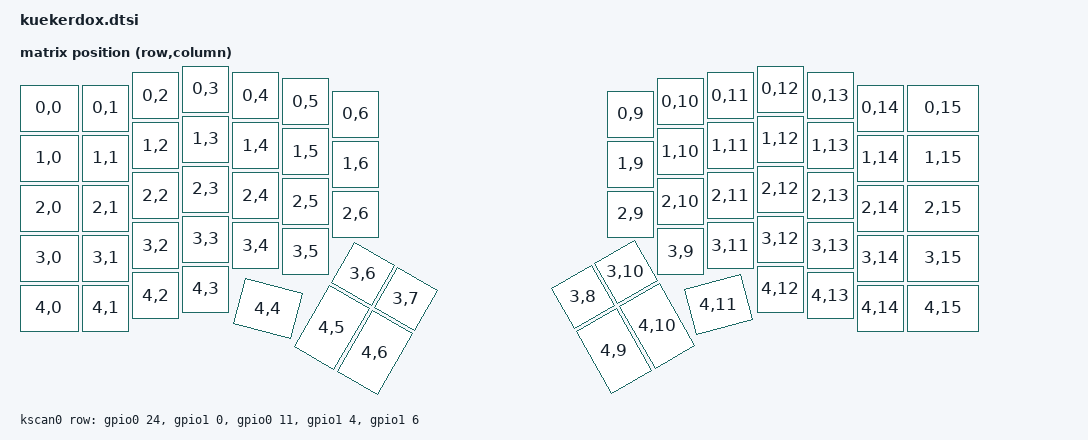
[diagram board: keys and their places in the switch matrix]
#include <dt-bindings/zmk/matrix_transform.h>
#include <physical_layouts.dtsi>

/ {
    chosen {
        zmk,kscan = &kscan0;
        zmk,matrix-transform = &default_transform;
        zmk,physical-layout = &physical_layout0;
    };

    default_transform: keymap_transform_0 {
        compatible = "zmk,matrix-transform";
        columns = <16>;
        rows = <5>;

        map = <
    RC(0,0)  RC(0,1)  RC(0,2)  RC(0,3)  RC(0,4)  RC(0,5)  RC(0,6)                        RC(0,9)  RC(0,10) RC(0,11) RC(0,12) RC(0,13) RC(0,14) RC(0,15)
    RC(1,0)  RC(1,1)  RC(1,2)  RC(1,3)  RC(1,4)  RC(1,5)  RC(1,6)                        RC(1,9)  RC(1,10) RC(1,11) RC(1,12) RC(1,13) RC(1,14) RC(1,15)
    RC(2,0)  RC(2,1)  RC(2,2)  RC(2,3)  RC(2,4)  RC(2,5)  RC(2,6)                        RC(2,9)  RC(2,10) RC(2,11) RC(2,12) RC(2,13) RC(2,14) RC(2,15)
    RC(3,0)  RC(3,1)  RC(3,2)  RC(3,3)  RC(3,4)  RC(3,5)  RC(3,6)  RC(3,7)      RC(3,8)  RC(3,9)  RC(3,10) RC(3,11) RC(3,12) RC(3,13) RC(3,14) RC(3,15)
    RC(4,0)  RC(4,1)  RC(4,2)  RC(4,3)  RC(4,4)  RC(4,5)  RC(4,6)                        RC(4,9)  RC(4,10) RC(4,11) RC(4,12) RC(4,13) RC(4,14) RC(4,15)
        >;
    };

    kscan0: kscan {
        compatible = "zmk,kscan-gpio-matrix";
        wakeup-source;

        diode-direction = "col2row";
        row-gpios
            = <&gpio0 24 (GPIO_ACTIVE_HIGH | GPIO_PULL_DOWN)>
            , <&gpio1 0  (GPIO_ACTIVE_HIGH | GPIO_PULL_DOWN)>
            , <&gpio0 11 (GPIO_ACTIVE_HIGH | GPIO_PULL_DOWN)>
            , <&gpio1 4  (GPIO_ACTIVE_HIGH | GPIO_PULL_DOWN)>
            , <&gpio1 6  (GPIO_ACTIVE_HIGH | GPIO_PULL_DOWN)>
            ;

    };

    physical_layout0: physical_layout_0 {
        compatible = "zmk,physical-layout";
        display-name = "KuekerDox";

        kscan = <&kscan0>;
        transform = <&default_transform>;

        keys  //                     w   h    x    y     rot    rx    ry
            = <&key_physical_attrs 125 100    0   38       0     0     0>
            , <&key_physical_attrs 100 100  125   38       0     0     0>
            , <&key_physical_attrs 100 100  225   13       0     0     0>
            , <&key_physical_attrs 100 100  325    0       0     0     0>
            , <&key_physical_attrs 100 100  425   13       0     0     0>
            , <&key_physical_attrs 100 100  525   25       0     0     0>
            , <&key_physical_attrs 100 100  625   50       0     0     0>
            , <&key_physical_attrs 100 100 1175   50       0     0     0>
            , <&key_physical_attrs 100 100 1275   25       0     0     0>
            , <&key_physical_attrs 100 100 1375   13       0     0     0>
            , <&key_physical_attrs 100 100 1475    0       0     0     0>
            , <&key_physical_attrs 100 100 1575   13       0     0     0>
            , <&key_physical_attrs 100 100 1675   38       0     0     0>
            , <&key_physical_attrs 150 100 1775   38       0     0     0>
            , <&key_physical_attrs 125 100    0  138       0     0     0>
            , <&key_physical_attrs 100 100  125  138       0     0     0>
            , <&key_physical_attrs 100 100  225  113       0     0     0>
            , <&key_physical_attrs 100 100  325  100       0     0     0>
            , <&key_physical_attrs 100 100  425  113       0     0     0>
            , <&key_physical_attrs 100 100  525  125       0     0     0>
            , <&key_physical_attrs 100 100  625  150       0     0     0>
            , <&key_physical_attrs 100 100 1175  150       0     0     0>
            , <&key_physical_attrs 100 100 1275  125       0     0     0>
            , <&key_physical_attrs 100 100 1375  113       0     0     0>
            , <&key_physical_attrs 100 100 1475  100       0     0     0>
            , <&key_physical_attrs 100 100 1575  113       0     0     0>
            , <&key_physical_attrs 100 100 1675  138       0     0     0>
            , <&key_physical_attrs 150 100 1775  138       0     0     0>
            , <&key_physical_attrs 125 100    0  238       0     0     0>
            , <&key_physical_attrs 100 100  125  238       0     0     0>
            , <&key_physical_attrs 100 100  225  213       0     0     0>
            , <&key_physical_attrs 100 100  325  200       0     0     0>
            , <&key_physical_attrs 100 100  425  213       0     0     0>
            , <&key_physical_attrs 100 100  525  225       0     0     0>
            , <&key_physical_attrs 100 100  625  250       0     0     0>
            , <&key_physical_attrs 100 100 1175  250       0     0     0>
            , <&key_physical_attrs 100 100 1275  225       0     0     0>
            , <&key_physical_attrs 100 100 1375  213       0     0     0>
            , <&key_physical_attrs 100 100 1475  200       0     0     0>
            , <&key_physical_attrs 100 100 1575  213       0     0     0>
            , <&key_physical_attrs 100 100 1675  238       0     0     0>
            , <&key_physical_attrs 150 100 1775  238       0     0     0>
            , <&key_physical_attrs 125 100    0  338       0     0     0>
            , <&key_physical_attrs 100 100  125  338       0     0     0>
            , <&key_physical_attrs 100 100  225  313       0     0     0>
            , <&key_physical_attrs 100 100  325  300       0     0     0>
            , <&key_physical_attrs 100 100  425  313       0     0     0>
            , <&key_physical_attrs 100 100  525  325       0     0     0>
            , <&key_physical_attrs 100 100  625  325    3000   600   425>
            , <&key_physical_attrs 100 100  725  325    3000   600   425>
            , <&key_physical_attrs 100 100 1075  350 (-3000)  1250   425>
            , <&key_physical_attrs 100 100 1275  325       0     0     0>
            , <&key_physical_attrs 100 100 1175  350 (-3000)  1250   425>
            , <&key_physical_attrs 100 100 1375  313       0     0     0>
            , <&key_physical_attrs 100 100 1475  300       0     0     0>
            , <&key_physical_attrs 100 100 1575  313       0     0     0>
            , <&key_physical_attrs 100 100 1675  338       0     0     0>
            , <&key_physical_attrs 150 100 1775  338       0     0     0>
            , <&key_physical_attrs 125 100    0  438       0     0     0>
            , <&key_physical_attrs 100 100  125  438       0     0     0>
            , <&key_physical_attrs 100 100  225  413       0     0     0>
            , <&key_physical_attrs 100 100  325  400       0     0     0>
            , <&key_physical_attrs 125 100  545  280    1500 (-50)     0>
            , <&key_physical_attrs 100 150  625  425    3000   600   425>
            , <&key_physical_attrs 100 150  725  425    3000   600   425>
            , <&key_physical_attrs 100 150 1075  450 (-3000)  1250   425>
            , <&key_physical_attrs 100 150 1175  450 (-3000)  1250   425>
            , <&key_physical_attrs 125 100 1165  790 (-1500) (-50)     0>
            , <&key_physical_attrs 100 100 1475  400       0     0     0>
            , <&key_physical_attrs 100 100 1575  413       0     0     0>
            , <&key_physical_attrs 100 100 1675  438       0     0     0>
            , <&key_physical_attrs 150 100 1775  438       0     0     0>
            ;
    };

    chosen {
        zmk,kscan = &kscan0;
        zmk,matrix-transform = &default_transform;
        zmk,physical-layout = &physical_layout0;
    };

};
